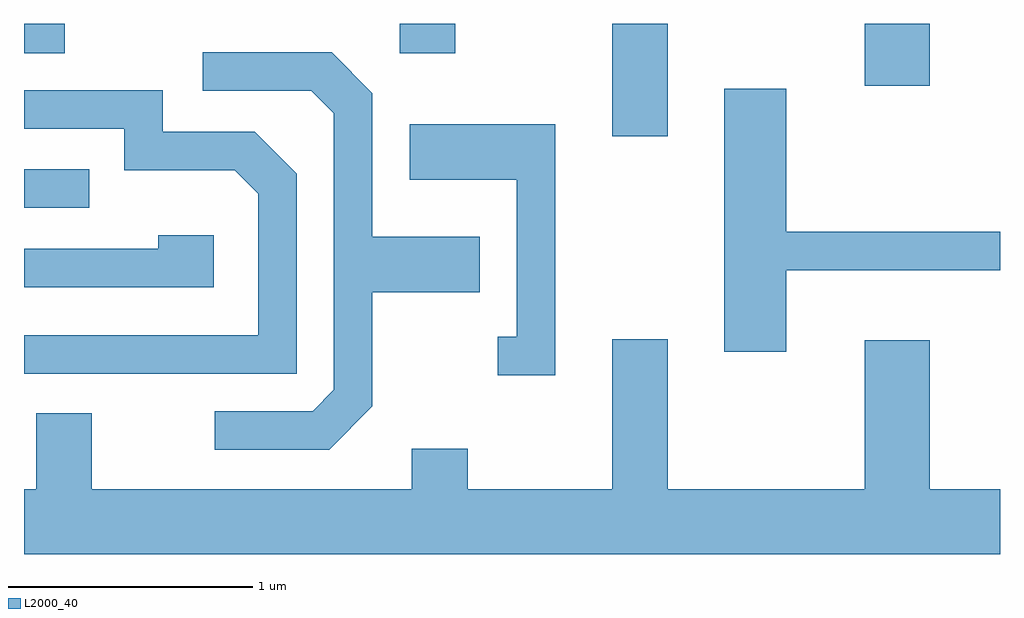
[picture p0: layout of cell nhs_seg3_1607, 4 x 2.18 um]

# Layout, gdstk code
import gdstk
lib = gdstk.Library(unit=1e-6, precision=1e-09)
def R(c, l, rs):  # rectangles x0, y0, x1, y1
    for r in rs: c.add(gdstk.rectangle(r[:2], r[2:], *l))
def P(c, l, *ps):  # polygons
    for p in ps: c.add(gdstk.Polygon(p, *l))
L2000_40 = (2000, 40)

nhs_seg3_1607 = lib.new_cell('nhs_seg3_1607')
R(nhs_seg3_1607, L2000_40, [(231.611,1205.136,231.878,1205.294), (234.021,1205.431,234.249,1205.892), (235.056,1205.636,235.324,1205.892), (231.611,1205.771,231.779,1205.892), (233.151,1205.771,233.379,1205.892)])
P(nhs_seg3_1607, L2000_40, [(233.039,1204.324),(233.039,1204.791),(233.479,1204.791),(233.479,1205.019),(233.039,1205.019),(233.039,1205.607),(232.872,1205.774),(232.343,1205.774),(232.343,1205.616),(232.789,1205.616),(232.881,1205.524),(232.881,1204.392),(232.794,1204.304),(232.393,1204.304),(232.393,1204.146),(232.862,1204.146)],
  [(234.734,1204.881),(235.611,1204.881),(235.611,1205.039),(234.734,1205.039),(234.734,1205.624),(234.481,1205.624),(234.481,1204.546),(234.734,1204.546)],
  [(232.729,1205.277),(232.557,1205.449),(232.179,1205.449),(232.179,1205.619),(231.611,1205.619),(231.611,1205.461),(232.021,1205.461),(232.021,1205.291),(232.474,1205.291),(232.571,1205.194),(232.571,1204.614),(231.611,1204.614),(231.611,1204.456),(232.729,1204.456)],
  [(233.789,1205.479),(233.191,1205.479),(233.191,1205.251),(233.631,1205.251),(233.631,1204.609),(233.553,1204.609),(233.553,1204.451),(233.789,1204.451)],
  [(232.389,1205.024),(232.161,1205.024),(232.161,1204.969),(231.611,1204.969),(231.611,1204.811),(232.389,1204.811)],
  [(235.611,1203.984),(235.324,1203.984),(235.324,1204.594),(235.056,1204.594),(235.056,1203.984),(234.249,1203.984),(234.249,1204.599),(234.021,1204.599),(234.021,1203.984),(233.429,1203.984),(233.429,1204.149),(233.201,1204.149),(233.201,1203.984),(231.889,1203.984),(231.889,1204.294),(231.661,1204.294),(231.661,1203.984),(231.611,1203.984),(231.611,1203.716),(235.611,1203.716)])

lib.write_gds('nhs_seg3_1607.gds')
